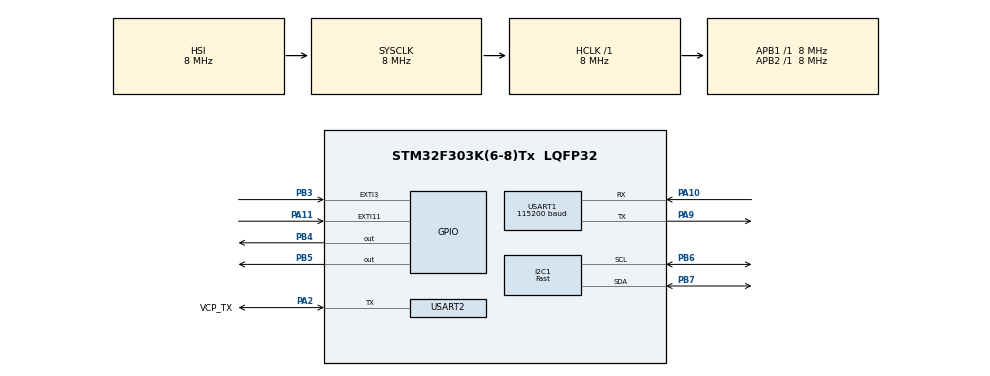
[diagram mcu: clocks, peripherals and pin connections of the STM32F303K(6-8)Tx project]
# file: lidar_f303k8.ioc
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I2C1.I2C_Speed_Mode=I2C_Fast
I2C1.Timing=0x0000020B
Mcu.Family=STM32F3
Mcu.Name=STM32F303K(6-8)Tx
Mcu.Package=LQFP32
NVIC.EXTI15_10_IRQn=true\:0\:0\:false\:false\:true\:true\:true
NVIC.EXTI3_IRQn=true\:0\:0\:false\:false\:true\:true\:true
NVIC.PriorityGroup=NVIC_PRIORITYGROUP_4
NVIC.TIM3_IRQn=true\:1\:0\:true\:false\:true\:true\:true
PA10.Mode=Asynchronous
PA10.Signal=USART1_RX
PA11.Signal=GPXTI11
PA13.GPIO_Label=SWDIO
PA13.Mode=Serial_Wire
PA13.Signal=SYS_JTMS-SWDIO
PA14.GPIO_Label=SWCLK
PA14.Mode=Serial_Wire
PA14.Signal=SYS_JTCK-SWCLK
PA15.GPIO_Label=VCP_RX
PA15.Signal=USART2_RX
PA2.GPIO_Label=VCP_TX
PA2.Mode=Half_duplex(single_wire_mode)
PA2.Signal=USART2_TX
PA9.Mode=Asynchronous
PA9.Signal=USART1_TX
PB3.Signal=GPXTI3
PB4.Signal=GPIO_Output
PB5.Signal=GPIO_Output
PB6.GPIO_Pu=GPIO_PULLUP
PB6.Mode=I2C
PB6.Signal=I2C1_SCL
PB7.GPIO_Pu=GPIO_PULLUP
PB7.Mode=I2C
PB7.Signal=I2C1_SDA
PF0\ /\ OSC_IN.GPIO_Label=MCO
PF0\ /\ OSC_IN.Mode=HSE-External-Clock-Source
PF0\ /\ OSC_IN.Signal=RCC_OSC_IN
ProjectManager.HeapSize=0x200
ProjectManager.StackSize=0x400
ProjectManager.TargetToolchain=STM32CubeIDE
RCC.AHBFreq_Value=8000000
RCC.APB1Freq_Value=8000000
RCC.APB2Freq_Value=8000000
RCC.CortexFreq_Value=8000000
RCC.HSE_VALUE=8000000
RCC.HSI_VALUE=8000000
RCC.SYSCLKFreq_VALUE=8000000
TIM3.Period=1000
TIM3.Prescaler=4000
USART1.BaudRate=115200
USART1.VirtualMode-Asynchronous=VM_ASYNC
USART2.BaudRate=250000
USART2.VirtualMode-Half_duplex(single_wire_mode)=VM_ASYNC
VP_TIM3_VS_ClockSourceINT.Mode=Internal
board=NUCLEO-F303K8

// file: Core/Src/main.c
/* USER CODE BEGIN Header */
/**
  ******************************************************************************
  * @file           : main.c
  * @brief          : Main program body
  ******************************************************************************
  * @attention
  *
  * <h2><center>&copy; Copyright (c) 2021 STMicroelectronics.
  * All rights reserved.</center></h2>
  *
  * This software component is licensed by ST under BSD 3-Clause license,
  * the "License"; You may not use this file except in compliance with the
  * License. You may obtain a copy of the License at:
  *                        opensource.org/licenses/BSD-3-Clause
  *
  ******************************************************************************
  */
/* USER CODE END Header */
#include "main.h"
#include "i2c.h"
#include "tim.h"
#include "usart.h"
#include "gpio.h"

/* USER CODE BEGIN Includes */
#include "config.h"
/* USER CODE END Includes */

/* USER CODE BEGIN PV */
VL53L0X_Struct vl53l0x[NB_OF_SENSORS];
AX12 ax12;
uint8_t sens = 0;
/* USER CODE END PV */

void SystemClock_Config(void);
/* USER CODE BEGIN PFP */
int LIDAR_Main();
int LIDAR_Main2();
int LIDAR_SendDatas(float pos);
/* USER CODE END PFP */

int main(void)
{

  /* MCU Configuration--------------------------------------------------------*/

  /* Reset of all peripherals, Initializes the Flash interface and the Systick. */
  HAL_Init();

  /* Configure the system clock */
  SystemClock_Config();

  /* Initialize all configured peripherals */
  MX_GPIO_Init();
  MX_USART2_UART_Init();
  MX_I2C1_Init();
  MX_USART1_UART_Init();
  MX_TIM3_Init();
  /* USER CODE BEGIN 2 */
  RetargetInit(&huart1);
  printf("lidar_f303k8\r\n");
  HAL_TIM_Base_Start_IT(&htim3);

  /* USER CODE END 2 */

  /* Infinite loop */
  /* USER CODE BEGIN WHILE */

  ///// VL53L0X /////

  // Initialisation du capteur n°1
#if NB_OF_SENSORS == 1
	vl_xshut_init(&vl53l0x[0], GPIOB, GPIO_PIN_5); 			// XSHUT = PB5
	//vl_xshut_init(&vl53l0x[0], GPIOB, GPIO_PIN_4); 			// XSHUT = PB4
    vl_sensors_init(&vl53l0x[0], &hi2c1, NB_OF_SENSORS);
#endif
#if NB_OF_SENSORS == 2
    vl_xshut_init(&vl53l0x[0], GPIOB, GPIO_PIN_5); 			// XSHUT = PB5
    vl_xshut_init(&vl53l0x[1], GPIOB, GPIO_PIN_4); 			// XSHUT = PB4
    vl_sensors_init(vl53l0x, &hi2c1, NB_OF_SENSORS);
#endif

    results[0] = 999;
    results[1] = 999;

  ///// AX-12 /////
#if AX12_ENABLE
    AX12_Init(&ax12, &huart2, 1, BR_250K);
    AX12_TorqueE_D(&ax12, TRUE);
    AX12_setMaxTorque(&ax12,50);

    AX12_setRangeAngle(&ax12,LIDAR_POS_MIN,LIDAR_POS_MAX);
    AX12_setMovingSpeed(&ax12, 114);
    AX12_setPosition(&ax12, 0);
#endif

  while (1)
    {
    /* USER CODE END WHILE */

    /* USER CODE BEGIN 3 */

#if IT_MODE == 0
	  LIDAR_Main();

#elif IT_MODE == 1
	  //printf("1: %d\r\n", results[0]);
	  //printf("%d %d\r\n", results[0], results[1]);

	  printf("L\n");

	  if(results[0] < 350){
			  printf("B\n");
	  }

	  if(results[1] < 350){
			  printf("F\n");
	  }
  #endif

    }
  /* USER CODE END 3 */
}

void SystemClock_Config(void)
{
  RCC_OscInitTypeDef RCC_OscInitStruct = {0};
  RCC_ClkInitTypeDef RCC_ClkInitStruct = {0};
  RCC_PeriphCLKInitTypeDef PeriphClkInit = {0};

  /** Initializes the RCC Oscillators according to the specified parameters
  * in the RCC_OscInitTypeDef structure.
  */
  RCC_OscInitStruct.OscillatorType = RCC_OSCILLATORTYPE_HSI;
  RCC_OscInitStruct.HSIState = RCC_HSI_ON;
  RCC_OscInitStruct.HSICalibrationValue = RCC_HSICALIBRATION_DEFAULT;
  RCC_OscInitStruct.PLL.PLLState = RCC_PLL_NONE;
  if (HAL_RCC_OscConfig(&RCC_OscInitStruct) != HAL_OK)
  {
    Error_Handler();
  }
  /** Initializes the CPU, AHB and APB buses clocks
  */
  RCC_ClkInitStruct.ClockType = RCC_CLOCKTYPE_HCLK|RCC_CLOCKTYPE_SYSCLK
                              |RCC_CLOCKTYPE_PCLK1|RCC_CLOCKTYPE_PCLK2;
  RCC_ClkInitStruct.SYSCLKSource = RCC_SYSCLKSOURCE_HSI;
  RCC_ClkInitStruct.AHBCLKDivider = RCC_SYSCLK_DIV1;
  RCC_ClkInitStruct.APB1CLKDivider = RCC_HCLK_DIV1;
  RCC_ClkInitStruct.APB2CLKDivider = RCC_HCLK_DIV1;

  if (HAL_RCC_ClockConfig(&RCC_ClkInitStruct, FLASH_LATENCY_0) != HAL_OK)
  {
    Error_Handler();
  }
  PeriphClkInit.PeriphClockSelection = RCC_PERIPHCLK_USART1|RCC_PERIPHCLK_I2C1;
  PeriphClkInit.Usart1ClockSelection = RCC_USART1CLKSOURCE_PCLK1;
  PeriphClkInit.I2c1ClockSelection = RCC_I2C1CLKSOURCE_HSI;
  if (HAL_RCCEx_PeriphCLKConfig(&PeriphClkInit) != HAL_OK)
  {
    Error_Handler();
  }
}

/* USER CODE BEGIN 4 */

void HAL_GPIO_EXTI_Callback(uint16_t GPIO_Pin){
	if(GPIO_Pin == GPIO_PIN_3){
		vl_clear_it_mask(&vl53l0x[1]);
		results[1] = vl_perform_ranging_it(&vl53l0x[1]);

		results[0] = vl_perform_ranging(&vl53l0x[0]);
		//printf("1: %d 2: %d\r\n", results[0], results[1]);
	}

	/*
	if(GPIO_Pin == GPIO_PIN_11){
		//vl_clear_it_mask(&vl53l0x[0]);
		//results[0] = vl_perform_ranging_it(&vl53l0x[0]);
	}
	*/
}

void HAL_TIM_PeriodElapsedCallback(TIM_HandleTypeDef *htim){
	if(htim->Instance == TIM3){

		#if AX12_ENABLE
			if(sens == 0){
				AX12_setPosition(&ax12, LIDAR_POS_MIN);
				sens = 1;
			}
			else if(sens == 1){
				AX12_setPosition(&ax12, LIDAR_POS_MAX);
				sens = 0;
			}
			else sens = 0;
		#endif
	}
}

int LIDAR_Main(){
	for(float k = LIDAR_POS_MIN+LIDAR_STEP; k <= LIDAR_POS_MAX; k += LIDAR_STEP){
		for(int i=0; i<NB_OF_SENSORS; i++){
			//results[i] = (float)vl_perform_ranging(&vl53l0x[i]);
			results[i] = vl_perform_ranging(&vl53l0x[i]);
		}

		LIDAR_SendDatas(k);

		#if AX12_ENABLE
			AX12_setPosition(&ax12, k);
			HAL_Delay(LIDAR_STEP_WAIT);
		#endif
	}

	for(float k = LIDAR_POS_MAX-LIDAR_STEP; k >= LIDAR_POS_MIN; k -= LIDAR_STEP){

		for(int i=0; i<NB_OF_SENSORS; i++){
			//results[i] = (float)vl_perform_ranging(&vl53l0x[i]);
			results[i] = vl_perform_ranging(&vl53l0x[i]);
		}

		LIDAR_SendDatas(k);

		#if AX12_ENABLE
			AX12_setPosition(&ax12, k);
			HAL_Delay(LIDAR_STEP_WAIT);
		#endif

	}

	//AX12_setPosition(&ax12, LIDAR_POS_MIN);
	//HAL_Delay(500);

	return 0;
}

int LIDAR_Main2(){
	for(int j=0; j<1000; j++){
		for(int i=0; i<NB_OF_SENSORS; i++){
			//results[i] = (float)vl_perform_ranging(&vl53l0x[i]);
			results[i] = vl_perform_ranging(&vl53l0x[i]);
		}
	}

	AX12_setPosition(&ax12, LIDAR_POS_MIN);

	for(int j=0; j<1000; j++){
		for(int i=0; i<NB_OF_SENSORS; i++){
			//results[i] = (float)vl_perform_ranging(&vl53l0x[i]);
			results[i] = vl_perform_ranging(&vl53l0x[i]);
		}
	}

	AX12_setPosition(&ax12, LIDAR_POS_MAX);

	return 0;
}

int LIDAR_SendDatas(float pos){
	#if NB_OF_SENSORS == 1
			  printf("%f %f\r\n", pos, results[0]);
	#endif

	#if NB_OF_SENSORS == 2
			  //printf("%f %f %f\r\n", pos, results[0], results[1]);
			  //printf("%f %f %f\n", pos, results[0], results[1]);
			  //printf("%d %d %d\n", (int)pos, (int)results[0], (int)results[1]);

			  if(results[0] < 400){
					  printf("B\n");
			  }

			  if(results[1] < 400){
					  printf("F\n");
			  }
	#endif

	return 0;
}

/* USER CODE END 4 */

void Error_Handler(void)
{
  __disable_irq();
  while (1)
  {
  }
}

/************************ (C) COPYRIGHT STMicroelectronics *****END OF FILE****/
